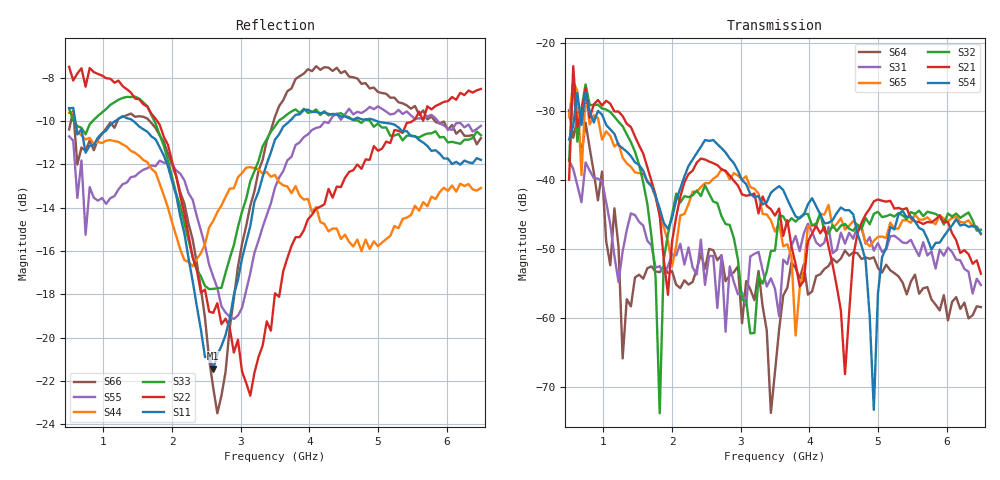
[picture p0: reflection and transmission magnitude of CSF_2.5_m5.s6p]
!Keysight Technologies,M9804A,MY58100912,A.14.10.03
!Date: Thursday, April 27, 2023 10:28:33
!Correction: S11(C  6-Port  )
!S12(C  6-Port  )
!S13(C  6-Port  )
!S14(C  6-Port  )
!S15(C  6-Port  )
!S16(C  6-Port  )
!S21(C  6-Port  )
!S22(C  6-Port  )
!S23(C  6-Port  )
!S24(C  6-Port  )
!S25(C  6-Port  )
!S26(C  6-Port  )
!S31(C  6-Port  )
!S32(C  6-Port  )
!S33(C  6-Port  )
!S34(C  6-Port  )
!S35(C  6-Port  )
!S36(C  6-Port  )
!S41(C  6-Port  )
!S42(C  6-Port  )
!S43(C  6-Port  )
!S44(C  6-Port  )
!S45(C  6-Port  )
!S46(C  6-Port  )
!S51(C  6-Port  )
!S52(C  6-Port  )
!S53(C  6-Port  )
!S54(C  6-Port  )
!S55(C  6-Port  )
!S56(C  6-Port  )
!S61(C  6-Port  )
!S62(C  6-Port  )
!S63(C  6-Port  )
!S64(C  6-Port  )
!S65(C  6-Port  )
!S66(C  6-Port  )
!S6P File: Measurement: :
# Hz S  RI  R 50
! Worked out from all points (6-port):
!   101 points, 500 MHz to 6.5 GHz, reference 50 ohm
!   strongest paths, dB at 500 MHz, 2 GHz, 3.5 GHz, 5 GHz, 6.5 GHz:
!     S54: -34.1, -45.5, -41.3, -56.5, -47.8
!     S21: -39.9, -48.9, -45.2, -42.8, -53.6
!     S32: -37.2, -45.0, -50.2, -44.6, -47.2
!     S65: -30.8, -52.5, -47.5, -48.2, -47.9
!     S31: -37.1, -50.8, -55.8, -49.2, -55.2
!     S64: -29.9, -53.2, -67.8, -52.8, -58.5
!   lowest |S11| = -21.4 dB at 2.6 GHz (marker M1), VSWR 1.19, Z = 42.5 + j2.21 ohm
!   |S11| at or under -10 dB: 589.7 MHz to 1.172 GHz (582.6 MHz wide, 66.1 % of centre); 1.435 GHz to 3.714 GHz (2.279 GHz wide, 88.5 % of centre); 4.981 GHz to end of sweep
